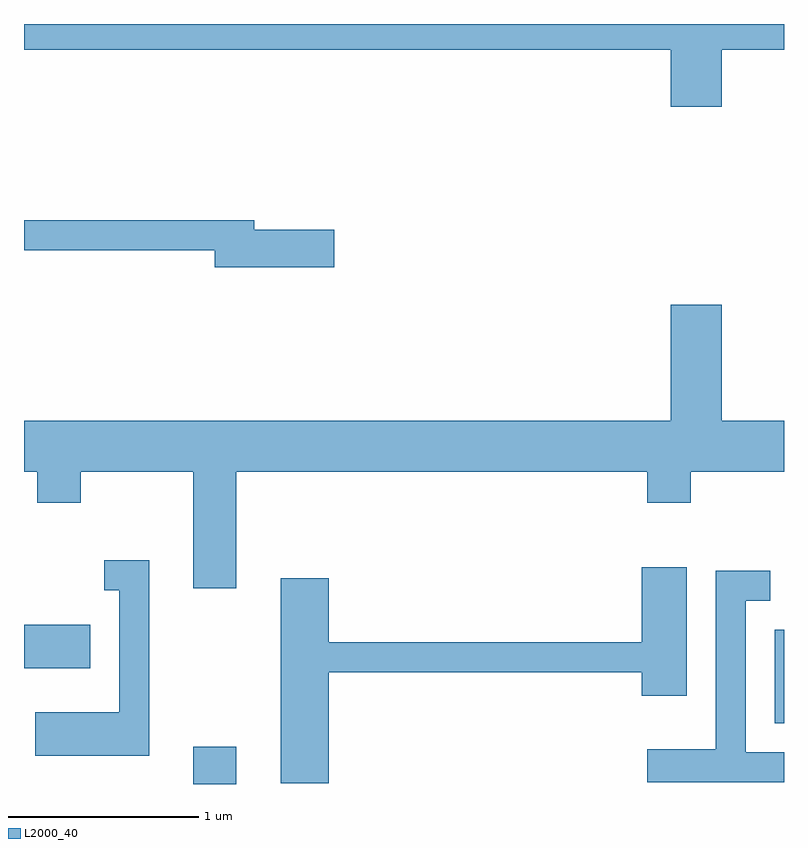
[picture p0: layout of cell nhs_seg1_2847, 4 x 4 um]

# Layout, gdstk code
import gdstk
lib = gdstk.Library(unit=1e-6, precision=1e-09)
def R(c, l, rs):  # rectangles x0, y0, x1, y1
    for r in rs: c.add(gdstk.rectangle(r[:2], r[2:], *l))
def P(c, l, *ps):  # polygons
    for p in ps: c.add(gdstk.Polygon(p, *l))
L2000_40 = (2000, 40)

nhs_seg1_2847 = lib.new_cell('nhs_seg1_2847')
R(nhs_seg1_2847, L2000_40, [(272.501,895.712,272.729,895.909), (275.561,896.031,275.611,896.524), (271.611,896.321,271.959,896.549)])
P(nhs_seg1_2847, L2000_40, [(275.284,899.576),(275.611,899.576),(275.611,899.712),(271.611,899.712),(271.611,899.576),(275.016,899.576),(275.016,899.276),(275.284,899.276)],
  [(273.244,898.629),(272.824,898.629),(272.824,898.679),(271.611,898.679),(271.611,898.521),(272.616,898.521),(272.616,898.431),(273.244,898.431)],
  [(272.729,897.356),(274.891,897.356),(274.891,897.191),(275.119,897.191),(275.119,897.356),(275.611,897.356),(275.611,897.624),(275.284,897.624),(275.284,898.234),(275.016,898.234),(275.016,897.624),(271.611,897.624),(271.611,897.356),(271.681,897.356),(271.681,897.191),(271.909,897.191),(271.909,897.356),(272.501,897.356),(272.501,896.741),(272.729,896.741)],
  [(272.269,896.889),(272.033,896.889),(272.033,896.731),(272.111,896.731),(272.111,896.089),(271.671,896.089),(271.671,895.861),(272.269,895.861)],
  [(273.214,896.301),(274.861,896.301),(274.861,896.176),(275.099,896.176),(275.099,896.854),(274.861,896.854),(274.861,896.459),(273.214,896.459),(273.214,896.794),(272.961,896.794),(272.961,895.716),(273.214,895.716)],
  [(275.611,895.879),(275.409,895.879),(275.409,896.676),(275.538,896.676),(275.538,896.834),(275.251,896.834),(275.251,895.894),(274.891,895.894),(274.891,895.721),(275.611,895.721)])

lib.write_gds('nhs_seg1_2847.gds')
